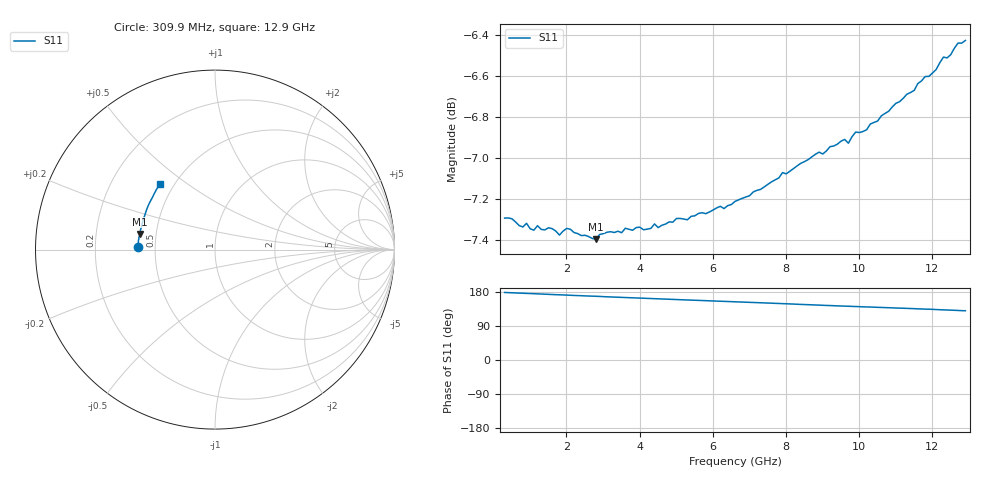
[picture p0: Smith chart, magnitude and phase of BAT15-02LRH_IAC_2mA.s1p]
! Infineon Technologies  Discrete & RF Semiconductors
! BAT15-02LRH
! IAC = 2 mA
! One-Port S-Parameters
# Hz  S  MA  R  50
!f  S11
!Hz  Mag  Ang
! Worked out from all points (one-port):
!   127 points, 309.9 MHz to 12.9 GHz, reference 50 ohm
!   lowest |S11| = -7.4 dB at 2.809 GHz (marker M1), VSWR 2.49, Z = 20.3 + j4.34 ohm
!   |S11| at or under -10 dB: nowhere
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3.0985e8  0.4319 178.2
8.096e8  0.4298 176.2
9.0955e8  0.4307 175.8
1.10945e9  0.429 175.0
1.2094e9  0.4301 174.5
1.8091e9  0.4279 172.1
1.90905e9  0.4288 171.7
2.50875e9  0.4278 169.2
2.8086e9  0.4269 168.2
3.0085e9  0.4282 167.2
3.50825e9  0.4284 165.3
5.10745e9  0.4319 159.1
6.6067e9  0.436 153.6
8.2059e9  0.4441 147.6
9.2054e9  0.4496 143.6
9.6052e9  0.4514 142.2
9.70515e9  0.4504 141.8
9.8051e9  0.4521 141.5
1.02049e10  0.4538 140.1
1.030485e10  0.4553 139.8
1.14043e10  0.4634 135.8
1.18041e10  0.4675 134.3
1.2004e10  0.4685 133.6
1.230385e10  0.4727 132.3
1.24038e10  0.4724 132.0
1.270365e10  0.4764 130.7
1.28036e10  0.4764 130.2
1.290355e10  0.4771 130.0
